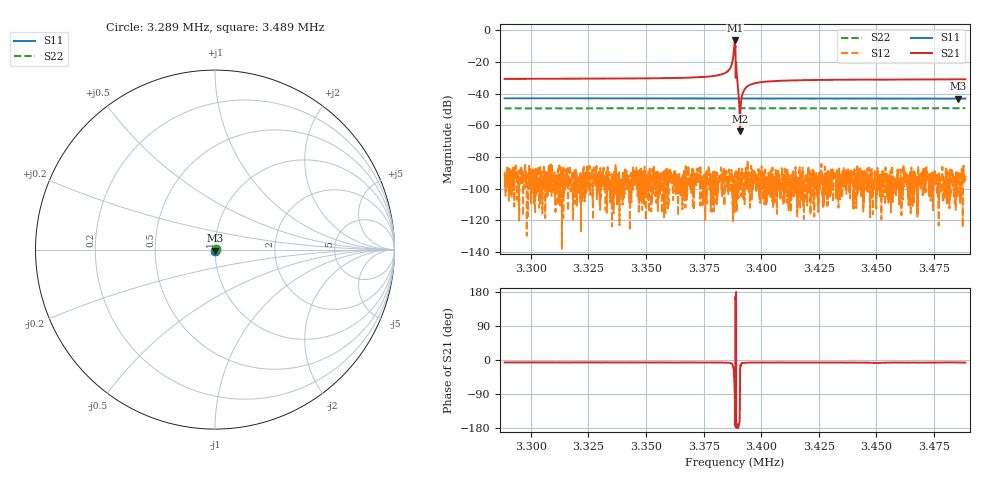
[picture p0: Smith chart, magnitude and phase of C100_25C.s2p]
# Hz S dB R 50.000
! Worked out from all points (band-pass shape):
!   6401 points, 3.289 MHz to 3.489 MHz, reference 50 ohm
!   highest |S21| = -6.38 dB at 3.389 MHz (marker M1); lowest = -63.7 dB at 3.391 MHz (marker M2)
!   |S21| within 3 dB of the highest: 3.388309 MHz to 3.388659 MHz (350 Hz wide, 0.0103 % of centre)
!   lowest |S11| = -43.2 dB at 3.485 MHz (marker M3), VSWR 1.01, Z = 49.9 - j0.684 ohm
!   |S11| at or under -10 dB: start of sweep to end of sweep
!   |S22| runs from -49.5 to -49.1 dB; largest |S21 - S12| = 0.48
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3288594  -42.92 -98.3  -30.66 -6.5  -89.18 27.0  -49.29 20.7
3321938  -42.94 -98.3  -30.54 -6.5  -95.13 46.8  -49.29 20.3
3355282  -42.98 -98.5  -30.24 -6.6  -97.88 -16.4  -49.23 20.8
3382063  -43.06 -98.5  -28.12 -7.0  -92.97 -12.7  -49.15 21.5
3386063  -43.09 -98.5  -24.84 -7.4  -95.78 76.3  -49.29 21.7
3386969  -43.05 -98.5  -22.42 -8.7  -92.31 8.2  -49.26 21.7
3387469  -43.05 -98.6  -19.66 -10.8  -101.59 -23.8  -49.28 21.7
3387844  -43.05 -98.6  -16.89 -18.8  -94.81 -61.9  -49.30 21.6
3388594  -43.10 -98.5  -6.38 -118.3  -89.99 -31.8  -49.46 23.3
3389219  -43.05 -98.6  -25.75 -168.0  -88.06 -23.9  -49.16 22.4
3389906  -43.04 -98.5  -36.24 -178.4  -100.26 21.6  -49.29 22.2
3390282  -43.06 -98.6  -43.75 -171.5  -90.53 -72.8  -49.27 22.0
3390719  -43.03 -98.5  -63.74 -101.7  -94.36 -44.9  -49.25 22.4
3391344  -43.06 -98.4  -43.68 -9.6  -93.37 66.6  -49.21 22.2
3392156  -43.07 -98.5  -38.95 -7.4  -106.19 34.8  -49.18 21.9
3393094  -43.04 -98.4  -36.66 -7.1  -96.40 -150.7  -49.20 22.4
3396406  -43.05 -98.5  -33.74 -6.7  -96.86 69.4  -49.22 22.3
3404656  -43.07 -98.2  -32.13 -6.6  -94.13 168.5  -49.19 22.9
3421938  -43.09 -98.4  -31.40 -6.7  -99.89 -177.0  -49.28 22.3
3455282  -43.15 -98.2  -31.13 -6.9  -93.80 53.8  -49.21 22.2
3485469  -43.19 -98.5  -30.91 -6.8  -89.90 39.9  -49.19 22.8
3488594  -43.12 -98.5  -30.91 -6.8  -94.95 -13.2  -49.13 22.7
